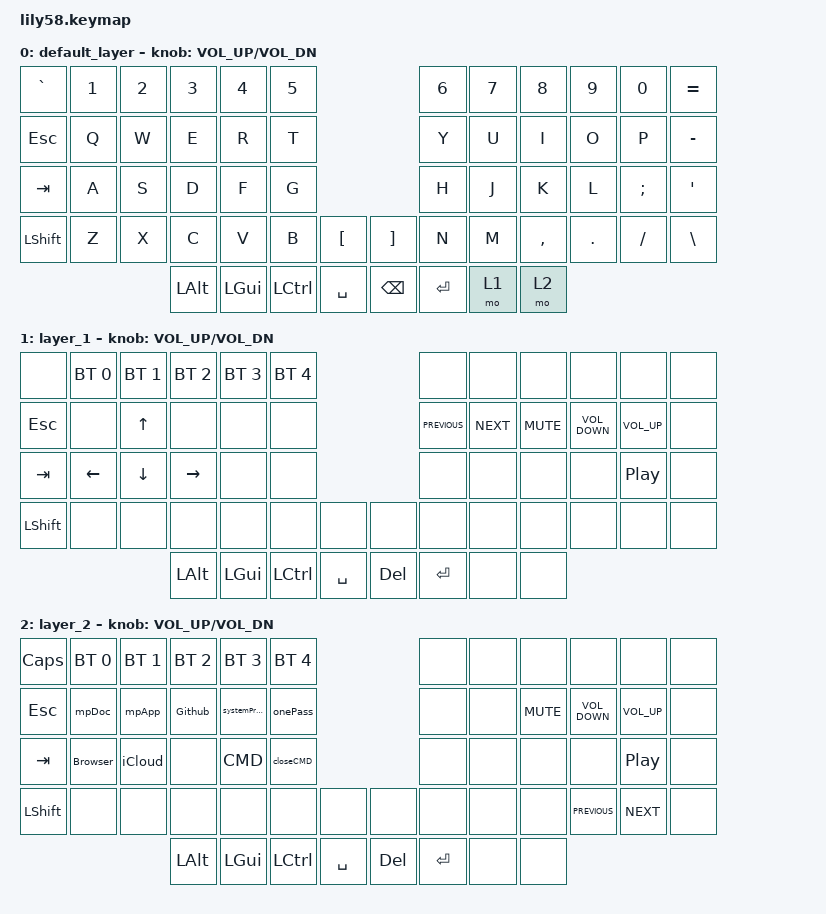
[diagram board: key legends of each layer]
/*
 * Copyright (c) 2020 The ZMK Contributors
 *
 * SPDX-License-Identifier: MIT
 */

#include <behaviors.dtsi>
#include <dt-bindings/zmk/bt.h>
#include <dt-bindings/zmk/keys.h>

/ {
    combos {
        compatible = "zmk,combos";

        Power-OnOff {
            bindings = <&kp K_POWER>;
            key-positions = <57 56 54 53>;
        };
    };

    macros {
        mpDoc: mpDoc {
            compatible = "zmk,behavior-macro";
            #binding-cells = <0>;
            bindings = <&kp M &kp P &kp LS(D) &kp O &kp C>;
            label = "MPDOC";
        };

        mpApp: mpApp {
            compatible = "zmk,behavior-macro";
            #binding-cells = <0>;
            bindings = <&kp M &kp P &kp LS(A) &kp P &kp P>;
            label = "MPAPP";
        };

        Github: Github {
            compatible = "zmk,behavior-macro";
            #binding-cells = <0>;
            bindings = <&kp M &kp P &kp LS(A) &kp P &kp P &kp SPACE &kp LS(G) &kp I &kp T &kp H &kp U &kp B>;
            label = "GITHUB";
        };

        systemPrefrences: systemPrefrences {
            compatible = "zmk,behavior-macro";
            #binding-cells = <0>;
            bindings = <&kp M &kp P &kp LS(A) &kp P &kp P &kp SPACE &kp LS(S) &kp Y &kp S &kp T &kp E &kp M &kp LS(P) &kp R &kp E &kp F &kp E &kp R &kp E &kp N &kp C &kp E &kp S>;
            label = "SYSTEMPREFRENCES";
        };

        onePass: onePass {
            compatible = "zmk,behavior-macro";
            #binding-cells = <0>;
            bindings = <&kp M &kp P &kp LS(A) &kp P &kp P &kp SPACE &kp N1 &kp LS(P) &kp A &kp S &kp S &kp W &kp O &kp R &kp D>;
            label = "ONEPASS";
        };

        iCloud: iCloud {
            compatible = "zmk,behavior-macro";
            #binding-cells = <0>;
            bindings = <&kp I &kp LS(C) &kp L &kp O &kp U &kp D>;
            label = "ICLOUD";
        };

        Browser: Browser {
            compatible = "zmk,behavior-macro";
            #binding-cells = <0>;
            bindings = <&kp LS(B) &kp R &kp O &kp W &kp S &kp E &kp R>;
            label = "BROWSER";
        };

        CMD: CMD {
            compatible = "zmk,behavior-macro";
            #binding-cells = <0>;
            bindings = <&kp LC(LA(N0))>;
            label = "CMD";
        };

        closeCMD: closeCMD {
            compatible = "zmk,behavior-macro";
            #binding-cells = <0>;
            bindings = <&kp LG(W)>;
            label = "CLOSECMD";
        };
    };

    keymap {
        compatible = "zmk,keymap";

        default_layer {
            // ------------------------------------------------------------------------------------------------------------
            // |  ESC  |  1  |  2  |  3   |  4   |  5   |                   |  6   |  7    |  8    |  9   |   0   |   `   |
            // |  TAB  |  Q  |  W  |  E   |  R   |  T   |                   |  Y   |  U    |  I    |  O   |   P   |   -   |
            // |  CTRL |  A  |  S  |  D   |  F   |  G   |                   |  H   |  J    |  K    |  L   |   ;   |   '   |
            // | SHIFT |  Z  |  X  |  C   |  V   |  B   |   "["  |  |  "]"  |  N   |  M    |  ,    |  .   |   /   | SHIFT |
            //                     | ALT  | GUI  | LOWER|  SPACE |  | ENTER | RAISE| BSPC  | GUI   |

            bindings = <
&kp GRAVE  &kp N1  &kp N2  &kp N3    &kp N4    &kp N5                            &kp N6   &kp N7  &kp N8     &kp N9   &kp N0    &kp EQUAL
&kp ESC    &kp Q   &kp W   &kp E     &kp R     &kp T                             &kp Y    &kp U   &kp I      &kp O    &kp P     &kp MINUS
&kp TAB    &kp A   &kp S   &kp D     &kp F     &kp G                             &kp H    &kp J   &kp K      &kp L    &kp SEMI  &kp SQT
&kp LSHFT  &kp Z   &kp X   &kp C     &kp V     &kp B      &kp LBKT     &kp RBKT  &kp N    &kp M   &kp COMMA  &kp DOT  &kp FSLH  &kp BSLH
                           &kp LALT  &kp LGUI  &kp LCTRL  &kp SPACE    &kp BSPC  &kp RET  &mo 1   &mo 2
            >;

            sensor-bindings = <&inc_dec_kp C_VOL_UP C_VOL_DN>;
        };

        layer_1 {
            bindings = <
&none      &bt BT_SEL 0  &bt BT_SEL 1  &bt BT_SEL 2  &bt BT_SEL 3  &bt BT_SEL 4                           &none           &none       &none       &none              &none             &none
&kp ESC    &none         &kp UP        &none         &none         &none                                  &kp C_PREVIOUS  &kp C_NEXT  &kp K_MUTE  &kp C_VOLUME_DOWN  &kp C_VOLUME_UP   &none
&kp TAB    &kp LEFT      &kp DOWN      &kp RIGHT     &none         &none                                  &none           &none       &none       &none              &kp C_PLAY_PAUSE  &none
&kp LSHFT  &none         &none         &none         &none         &none         &none        &none       &none           &none       &none       &none              &none             &none
                                       &kp LALT      &kp LGUI      &kp LCTRL     &kp SPACE    &kp DELETE  &kp RET         &none       &none
            >;

            sensor-bindings = <&inc_dec_kp C_VOL_UP C_VOL_DN>;
        };

        layer_2 {
            bindings = <
&kp CAPSLOCK    &bt BT_SEL 0  &bt BT_SEL 1  &bt BT_SEL 2  &bt BT_SEL 3       &bt BT_SEL 4                           &none    &none  &none       &none              &none             &none
&kp ESC         &mpDoc        &mpApp        &Github       &systemPrefrences  &onePass                               &none    &none  &kp K_MUTE  &kp C_VOLUME_DOWN  &kp C_VOLUME_UP   &none
&kp TAB         &Browser      &iCloud       &none         &CMD               &closeCMD                              &none    &none  &none       &none              &kp C_PLAY_PAUSE  &none
&kp LEFT_SHIFT  &none         &none         &none         &none              &none         &none        &none       &none    &none  &none       &kp C_PREVIOUS     &kp C_NEXT        &none
                                            &kp LALT      &kp LGUI           &kp LCTRL     &kp SPACE    &kp DELETE  &kp RET  &none  &none
            >;

            sensor-bindings = <&inc_dec_kp C_VOL_UP C_VOL_DN>;
        };
    };
};
